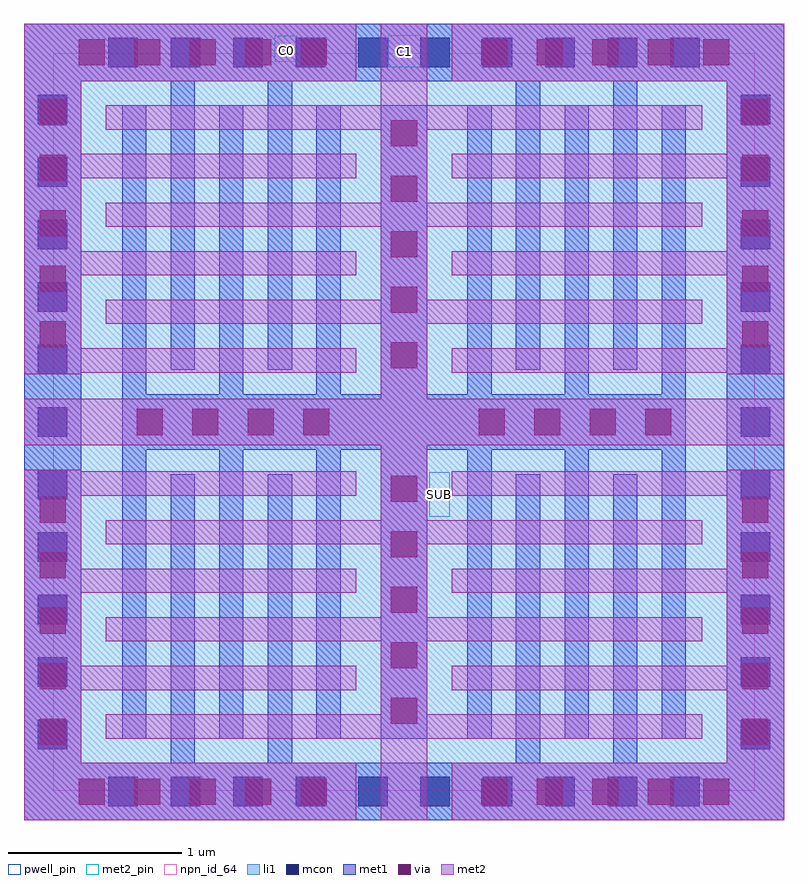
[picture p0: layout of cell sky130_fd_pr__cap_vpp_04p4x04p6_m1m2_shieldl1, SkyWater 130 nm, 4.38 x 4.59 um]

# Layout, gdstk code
import gdstk
lib = gdstk.Library(unit=1e-6, precision=1e-09)
def R(c, l, rs):  # rectangles x0, y0, x1, y1
    for r in rs: c.add(gdstk.rectangle(r[:2], r[2:], *l))
def A(c, l, x, y, w, h, nx, ny, dx, dy):  # array of equal rectangles
    R(c, l, [(x+i*dx, y+j*dy, x+i*dx+w, y+j*dy+h) for i in range(nx) for j in range(ny)])
def P(c, l, *ps):  # polygons
    for p in ps: c.add(gdstk.Polygon(p, *l))
li1 = (67, 20)
mcon = (67, 44)
met1 = (68, 20)
via = (68, 44)
met2_pin = (69, 16)
met2 = (69, 20)
npn_id_64 = (82, 64)
pwell_pin = (122, 16)

sky130_fd_pr__cap_vpp_04 = lib.new_cell('sky130_fd_pr__cap_vpp_04p4x04p6_m1m2_shieldl1')
R(sky130_fd_pr__cap_vpp_04, li1, [(0,0,4.38,4.59)])
A(sky130_fd_pr__cap_vpp_04, mcon, 0.485, 0.08, 0.17, 0.17, 10, 2, 0.36, 4.26)
A(sky130_fd_pr__cap_vpp_04, mcon, 0.08, 0.41, 0.17, 0.17, 1, 11, 0, 0.36)
A(sky130_fd_pr__cap_vpp_04, mcon, 4.13, 0.41, 0.17, 0.17, 1, 11, 0, 0.36)
P(sky130_fd_pr__cap_vpp_04, met1, [(3.815,4.12),(3.675,4.12),(3.675,2.455),(3.255,2.455),(3.255,4.12),(3.115,4.12),(3.115,2.455),(2.695,2.455),(2.695,4.12),(2.555,4.12),(2.555,2.455),(2.325,2.455),(2.325,4.12),(2.055,4.12),(2.055,2.455),(1.825,2.455),(1.825,4.12),(1.685,4.12),(1.685,2.455),(1.265,2.455),(1.265,4.12),(1.125,4.12),(1.125,2.455),(0.705,2.455),(0.705,4.12),(0.565,4.12),(0.565,0.47),(0.705,0.47),(0.705,2.135),(1.125,2.135),(1.125,0.47),(1.265,0.47),(1.265,2.135),(1.685,2.135),(1.685,0.47),(1.825,0.47),(1.825,2.135),(2.055,2.135),(2.055,0.47),(2.325,0.47),(2.325,2.135),(2.555,2.135),(2.555,0.47),(2.695,0.47),(2.695,2.135),(3.115,2.135),(3.115,0.47),(3.255,0.47),(3.255,2.135),(3.675,2.135),(3.675,0.47),(3.815,0.47)],
  [(4.38,4.59),(4.05,4.59),(4.05,0.33),(3.535,0.33),(3.535,1.995),(3.395,1.995),(3.395,0.33),(2.975,0.33),(2.975,1.995),(2.835,1.995),(2.835,0.33),(1.545,0.33),(1.545,1.995),(1.405,1.995),(1.405,0.33),(0.985,0.33),(0.985,1.995),(0.845,1.995),(0.845,0.33),(0.33,0.33),(0.33,4.26),(0.845,4.26),(0.845,2.595),(0.985,2.595),(0.985,4.26),(1.405,4.26),(1.405,2.595),(1.545,2.595),(1.545,4.26),(2.835,4.26),(2.835,2.595),(2.975,2.595),(2.975,4.26),(3.395,4.26),(3.395,2.595),(3.535,2.595),(3.535,4.26),(4.05,4.26),(4.05,4.59),(0,4.59),(0,0),(4.38,0)])
A(sky130_fd_pr__cap_vpp_04, via, 0.09, 0.435, 0.15, 0.15, 1, 5, 0, 0.32)
A(sky130_fd_pr__cap_vpp_04, via, 4.14, 0.435, 0.15, 0.15, 1, 5, 0, 0.32)
A(sky130_fd_pr__cap_vpp_04, via, 2.115, 0.555, 0.15, 0.15, 1, 5, 0, 0.32)
A(sky130_fd_pr__cap_vpp_04, via, 0.65, 2.22, 0.15, 0.15, 4, 1, 0.32, 0)
A(sky130_fd_pr__cap_vpp_04, via, 2.62, 2.22, 0.15, 0.15, 4, 1, 0.32, 0)
A(sky130_fd_pr__cap_vpp_04, via, 2.115, 2.605, 0.15, 0.15, 1, 5, 0, 0.32)
A(sky130_fd_pr__cap_vpp_04, via, 0.09, 2.725, 0.15, 0.15, 1, 5, 0, 0.32)
A(sky130_fd_pr__cap_vpp_04, via, 4.14, 2.725, 0.15, 0.15, 1, 5, 0, 0.32)
R(sky130_fd_pr__cap_vpp_04, via, [(0.315,0.09,0.465,0.24), (0.315,0.09,0.465,0.24), (0.635,0.09,0.785,0.24), (0.635,0.09,0.785,0.24), (0.955,0.09,1.105,0.24), (0.955,0.09,1.105,0.24), (1.275,0.09,1.425,0.24), (1.275,0.09,1.425,0.24), (1.595,0.09,1.745,0.24), (1.595,0.09,1.745,0.24), (2.635,0.09,2.785,0.24), (2.635,0.09,2.785,0.24), (2.955,0.09,3.105,0.24), (2.955,0.09,3.105,0.24), (3.275,0.09,3.425,0.24), (3.275,0.09,3.425,0.24), (3.595,0.09,3.745,0.24), (3.595,0.09,3.745,0.24), (3.915,0.09,4.065,0.24), (3.915,0.09,4.065,0.24), (0.315,4.35,0.465,4.5), (0.315,4.35,0.465,4.5), (0.635,4.35,0.785,4.5), (0.635,4.35,0.785,4.5), (0.955,4.35,1.105,4.5), (0.955,4.35,1.105,4.5), (1.275,4.35,1.425,4.5), (1.275,4.35,1.425,4.5), (1.595,4.35,1.745,4.5), (1.595,4.35,1.745,4.5), (2.635,4.35,2.785,4.5), (2.635,4.35,2.785,4.5), (2.955,4.35,3.105,4.5), (2.955,4.35,3.105,4.5), (3.275,4.35,3.425,4.5), (3.275,4.35,3.425,4.5), (3.595,4.35,3.745,4.5), (3.595,4.35,3.745,4.5), (3.915,4.35,4.065,4.5), (3.915,4.35,4.065,4.5)])
R(sky130_fd_pr__cap_vpp_04, met2_pin, [(2.1,4.34,2.29,4.525), (1.445,4.37,1.575,4.52)])
P(sky130_fd_pr__cap_vpp_04, met2, [(1.915,2.72),(0.33,2.72),(0.33,3.14),(1.915,3.14),(1.915,3.28),(0.33,3.28),(0.33,3.7),(1.915,3.7),(1.915,3.84),(0.33,3.84),(0.33,4.26),(1.915,4.26),(1.915,4.59),(0,4.59),(0,2.57),(0.33,2.57),(0.33,2.58),(1.915,2.58)],
  [(4.38,2.43),(2.325,2.43),(2.325,2.86),(3.91,2.86),(3.91,3),(2.325,3),(2.325,3.42),(3.91,3.42),(3.91,3.56),(2.325,3.56),(2.325,3.98),(3.91,3.98),(3.91,4.12),(2.325,4.12),(2.325,4.59),(2.055,4.59),(2.055,4.12),(0.47,4.12),(0.47,3.98),(2.055,3.98),(2.055,3.56),(0.47,3.56),(0.47,3.42),(2.055,3.42),(2.055,3),(0.47,3),(0.47,2.86),(2.055,2.86),(2.055,2.43),(0,2.43),(0,2.16),(2.055,2.16),(2.055,1.73),(0.47,1.73),(0.47,1.59),(2.055,1.59),(2.055,1.17),(0.47,1.17),(0.47,1.03),(2.055,1.03),(2.055,0.61),(0.47,0.61),(0.47,0.47),(2.055,0.47),(2.055,0),(2.325,0),(2.325,0.47),(3.91,0.47),(3.91,0.61),(2.325,0.61),(2.325,1.03),(3.91,1.03),(3.91,1.17),(2.325,1.17),(2.325,1.59),(3.91,1.59),(3.91,1.73),(2.325,1.73),(2.325,2.16),(4.38,2.16)],
  [(4.38,2.02),(4.05,2.02),(4.05,2.01),(2.465,2.01),(2.465,1.87),(4.05,1.87),(4.05,1.45),(2.465,1.45),(2.465,1.31),(4.05,1.31),(4.05,0.89),(2.465,0.89),(2.465,0.75),(4.05,0.75),(4.05,0.33),(2.465,0.33),(2.465,0),(4.38,0)],
  [(4.38,4.59),(2.465,4.59),(2.465,4.26),(4.05,4.26),(4.05,3.84),(2.465,3.84),(2.465,3.7),(4.05,3.7),(4.05,3.28),(2.465,3.28),(2.465,3.14),(4.05,3.14),(4.05,2.72),(2.465,2.72),(2.465,2.58),(4.05,2.58),(4.05,2.57),(4.38,2.57)],
  [(1.915,0.33),(0.33,0.33),(0.33,0.75),(1.915,0.75),(1.915,0.89),(0.33,0.89),(0.33,1.31),(1.915,1.31),(1.915,1.45),(0.33,1.45),(0.33,1.87),(1.915,1.87),(1.915,2.01),(0.33,2.01),(0.33,2.02),(0,2.02),(0,0),(1.915,0)])
R(sky130_fd_pr__cap_vpp_04, npn_id_64, [(0.17,0.17,4.21,4.42)])
R(sky130_fd_pr__cap_vpp_04, pwell_pin, [(2.335,1.75,2.455,2.005)])
sky130_fd_pr__cap_vpp_04.add(gdstk.Label('C0', (1.51,4.435), layer=69, texttype=5))
sky130_fd_pr__cap_vpp_04.add(gdstk.Label('C1', (2.195,4.43), layer=69, texttype=5))
sky130_fd_pr__cap_vpp_04.add(gdstk.Label('SUB', (2.395,1.875), layer=64, texttype=59))

lib.write_gds('sky130_fd_pr__cap_vpp_04p4x04p6_m1m2_shieldl1.gds')
